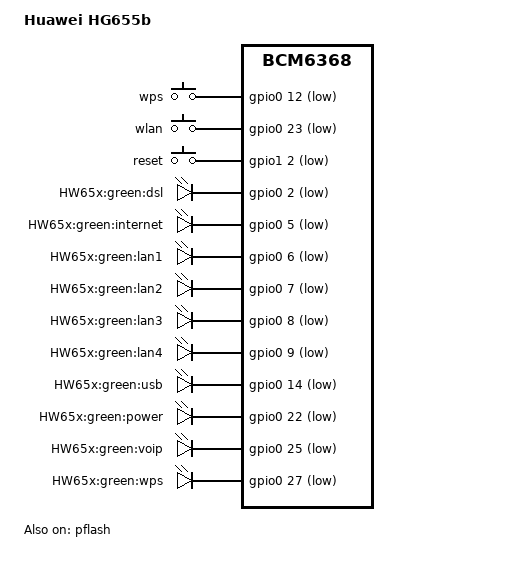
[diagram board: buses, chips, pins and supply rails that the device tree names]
/dts-v1/;

#include "bcm6368.dtsi"

#include <dt-bindings/input/input.h>

/ {
	model = "Huawei HG655b";
	compatible = "huawei,hg655b", "brcm,bcm6368";

	gpio-keys-polled {
		compatible = "gpio-keys-polled";
		#address-cells = <1>;
		#size-cells = <0>;
		poll-interval = <20>;
		debounce-interval = <60>;

		wps {
			label = "wps";
			gpios = <&gpio0 12 1>;
			linux,code = <KEY_WPS_BUTTON>;
		};
		wlan {
			label = "wlan";
			gpios = <&gpio0 23 1>;
			linux,code = <KEY_WLAN>;
		};
		reset {
			label = "reset";
			gpios = <&gpio1 2 1>;
			linux,code = <KEY_RESTART>;
		};
	};

	gpio-leds {
		compatible = "gpio-leds";

		dsl_green {
			label = "HW65x:green:dsl";
			gpios = <&gpio0 2 1>;
		};
		internet_green {
			label = "HW65x:green:internet";
			gpios = <&gpio0 5 1>;
		};
		lan1_green {
			label = "HW65x:green:lan1";
			gpios = <&gpio0 6 1>;
		};
		lan2_green {
			label = "HW65x:green:lan2";
			gpios = <&gpio0 7 1>;
		};
		lan3_green {
			label = "HW65x:green:lan3";
			gpios = <&gpio0 8 1>;
		};
		lan4_green {
			label = "HW65x:green:lan4";
			gpios = <&gpio0 9 1>;
		};
		usb_green {
			label = "HW65x:green:usb";
			gpios = <&gpio0 14 1>;
		};
		power_green {
			label = "HW65x:green:power";
			gpios = <&gpio0 22 1>;
			default-state = "on";
		};
		voip_green {
			label = "HW65x:green:voip";
			gpios = <&gpio0 25 1>;
		};
		wps_green {
			label = "HW65x:green:wps";
			gpios = <&gpio0 27 1>;
		};
	};
};

&pflash {
	status = "ok";

	linux,part-probe = "bcm63xxpart";

	cfe@0 {
		label = "CFE";
		reg = <0x000000 0x020000>;
	};

	linux@20000 {
		label = "linux";
		reg = <0x020000 0x770000>;
	};

	board_data@790000 {
		label = "board_data";
		reg = <0x790000 0x030000>;
	};

	cal_data@7c0000 {
		label = "cal_data";
		reg = <0x7c0000 0x020000>;
		read-only;
	};

	nvram@7d0000 {
		label = "nvram";
		reg = <0x7e0000 0x020000>;
	};
};
